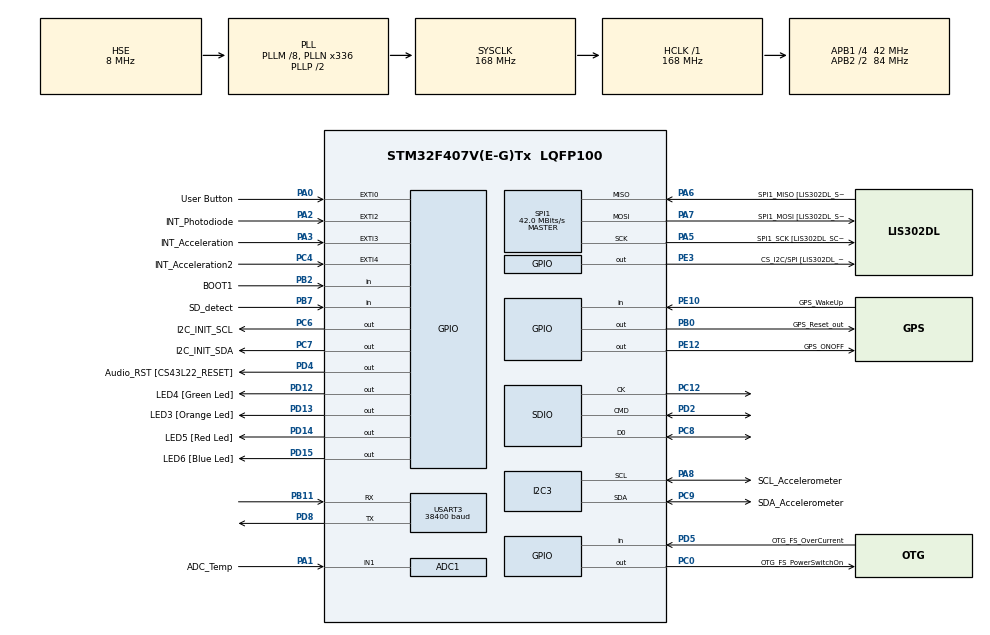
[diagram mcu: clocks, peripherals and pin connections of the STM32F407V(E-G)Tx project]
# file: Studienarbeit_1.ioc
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ADC1.Channel-81\#ChannelRegularConversion=ADC_CHANNEL_1
ADC1.ClockPrescaler=ADC_CLOCK_SYNC_PCLK_DIV4
ADC1.ContinuousConvMode=DISABLE
ADC1.DMAContinuousRequests=ENABLE
ADC1.DataAlign=ADC_DATAALIGN_RIGHT
ADC1.DiscontinuousConvMode=DISABLE
ADC1.EOCSelection=ADC_EOC_SINGLE_CONV
ADC1.EnableAnalogWatchDog=false
ADC1.ExternalTrigConv=ADC_SOFTWARE_START
ADC1.ExternalTrigConvEdge=ADC_EXTERNALTRIGCONVEDGE_NONE
ADC1.InjNumberOfConversion=0
ADC1.NbrOfConversion=1
ADC1.NbrOfConversionFlag=1
ADC1.Rank-81\#ChannelRegularConversion=1
ADC1.Resolution=ADC_RESOLUTION_12B
ADC1.SamplingTime-81\#ChannelRegularConversion=ADC_SAMPLETIME_28CYCLES
ADC1.ScanConvMode=ENABLE
ADC1.master=1
Dma.ADC1.0.Direction=DMA_PERIPH_TO_MEMORY
Dma.ADC1.0.FIFOMode=DMA_FIFOMODE_DISABLE
Dma.ADC1.0.Instance=DMA2_Stream0
Dma.ADC1.0.MemDataAlignment=DMA_MDATAALIGN_WORD
Dma.ADC1.0.MemInc=DMA_MINC_DISABLE
Dma.ADC1.0.Mode=DMA_CIRCULAR
Dma.ADC1.0.PeriphDataAlignment=DMA_PDATAALIGN_WORD
Dma.ADC1.0.PeriphInc=DMA_PINC_DISABLE
Dma.ADC1.0.Priority=DMA_PRIORITY_LOW
Dma.Request0=ADC1
Dma.Request1=USART3_RX
Dma.USART3_RX.1.Direction=DMA_PERIPH_TO_MEMORY
Dma.USART3_RX.1.FIFOMode=DMA_FIFOMODE_DISABLE
Dma.USART3_RX.1.Instance=DMA1_Stream1
Dma.USART3_RX.1.MemDataAlignment=DMA_MDATAALIGN_BYTE
Dma.USART3_RX.1.MemInc=DMA_MINC_ENABLE
Dma.USART3_RX.1.Mode=DMA_CIRCULAR
Dma.USART3_RX.1.PeriphDataAlignment=DMA_PDATAALIGN_BYTE
Dma.USART3_RX.1.PeriphInc=DMA_PINC_DISABLE
Dma.USART3_RX.1.Priority=DMA_PRIORITY_LOW
FATFS.BSP.number=1
FATFS._MAX_SS=4096
FATFS0.BSP.STBoard=false
FATFS0.BSP.api=Unknown
FATFS0.BSP.i2caddr=0
FATFS0.BSP.instance=PB7
FATFS0.BSP.ip=GPIO
FATFS0.BSP.mode=Input
FATFS0.BSP.name=Detect_SDIO
FATFS0.BSP.solution=PB7
Mcu.Family=STM32F4
Mcu.Name=STM32F407V(E-G)Tx
Mcu.Package=LQFP100
NVIC.ADC_IRQn=true\:0\:0\:false\:false\:true\:true\:true
NVIC.DMA1_Stream1_IRQn=true\:0\:0\:false\:false\:true\:false\:true
NVIC.DMA2_Stream0_IRQn=true\:0\:0\:false\:false\:true\:false\:true
NVIC.EXTI0_IRQn=true\:0\:0\:false\:false\:true\:true\:true
NVIC.EXTI2_IRQn=true\:0\:0\:false\:false\:true\:true\:true
NVIC.EXTI3_IRQn=true\:0\:0\:false\:false\:true\:true\:true
NVIC.EXTI4_IRQn=true\:0\:0\:false\:false\:true\:true\:true
NVIC.PriorityGroup=NVIC_PRIORITYGROUP_0
PA0-WKUP.GPIO_Label=User Button
PA0-WKUP.Signal=GPXTI0
PA1.GPIO_Label=ADC_Temp
PA1.Signal=ADCx_IN1
PA10.GPIO_Label=OTG_FS_ID
PA10.GPIO_Mode=GPIO_MODE_AF_PP
PA10.GPIO_PuPd=GPIO_NOPULL
PA10.GPIO_Speed=GPIO_SPEED_FREQ_LOW
PA10.Signal=USB_OTG_FS_ID
PA11.GPIO_Label=OTG_FS_DM
PA11.GPIO_Mode=GPIO_MODE_AF_PP
PA11.GPIO_PuPd=GPIO_NOPULL
PA11.GPIO_Speed=GPIO_SPEED_FREQ_LOW
PA11.Signal=USB_OTG_FS_DM
PA12.GPIO_Label=OTG_FS_DP
PA12.GPIO_Mode=GPIO_MODE_AF_PP
PA12.GPIO_PuPd=GPIO_NOPULL
PA12.GPIO_Speed=GPIO_SPEED_FREQ_LOW
PA12.Signal=USB_OTG_FS_DP
PA13.GPIO_Label=SWDIO
PA13.Mode=Serial_Wire
PA13.Signal=SYS_JTMS-SWDIO
PA14.GPIO_Label=SWCLK
PA14.Mode=Serial_Wire
PA14.Signal=SYS_JTCK-SWCLK
PA2.GPIO_Label=INT_Photodiode
PA2.Signal=GPXTI2
PA3.GPIO_Label=INT_Acceleration
PA3.Signal=GPXTI3
PA4.GPIO_Label=I2S3_WS [CS43L22_LRCK]
PA4.GPIO_Mode=GPIO_MODE_AF_PP
PA4.GPIO_PuPd=GPIO_NOPULL
PA4.GPIO_Speed=GPIO_SPEED_FREQ_LOW
PA4.Signal=I2S3_WS
PA5.GPIO_Label=SPI1_SCK [LIS302DL_SCL/SPC]
PA5.GPIO_Mode=GPIO_MODE_AF_PP
PA5.GPIO_PuPd=GPIO_NOPULL
PA5.GPIO_Speed=GPIO_SPEED_FREQ_LOW
PA5.Mode=Full_Duplex_Master
PA5.Signal=SPI1_SCK
PA6.GPIO_Label=SPI1_MISO [LIS302DL_SDO]
PA6.GPIO_Mode=GPIO_MODE_AF_PP
PA6.GPIO_PuPd=GPIO_NOPULL
PA6.GPIO_Speed=GPIO_SPEED_FREQ_LOW
PA6.Mode=Full_Duplex_Master
PA6.Signal=SPI1_MISO
PA7.GPIO_Label=SPI1_MOSI [LIS302DL_SDA/SDI/SDO]
PA7.GPIO_Mode=GPIO_MODE_AF_PP
PA7.GPIO_PuPd=GPIO_NOPULL
PA7.GPIO_Speed=GPIO_SPEED_FREQ_LOW
PA7.Mode=Full_Duplex_Master
PA7.Signal=SPI1_MOSI
PA8.GPIO_Label=SCL_Accelerometer
PA8.Mode=I2C
PA8.Signal=I2C3_SCL
PA9.GPIO_Label=VBUS_FS
PA9.GPIO_Mode=GPIO_MODE_INPUT
PA9.GPIO_PuPd=GPIO_NOPULL
PA9.Signal=USB_OTG_FS_VBUS
PB0.GPIO_Label=GPS_Reset_out
PB0.GPIO_ModeDefaultOutputPP=GPIO_MODE_OUTPUT_OD
PB0.Signal=GPIO_Output
PB10.GPIO_Label=CLK_IN [MP45DT02_CLK]
PB10.GPIO_Mode=GPIO_MODE_AF_PP
PB10.GPIO_PuPd=GPIO_NOPULL
PB10.GPIO_Speed=GPIO_SPEED_FREQ_LOW
PB10.Signal=I2S2_CK
PB11.Mode=Asynchronous
PB11.Signal=USART3_RX
PB2.GPIO_Label=BOOT1
PB2.GPIO_Mode=GPIO_MODE_INPUT
PB2.GPIO_PuPd=GPIO_NOPULL
PB2.Signal=GPIO_Input
PB3.GPIO_Label=SWO
PB3.Signal=SYS_JTDO-SWO
PB6.GPIO_Label=Audio_SCL [CS43L22_SCL]
PB6.GPIO_Mode=GPIO_MODE_AF_OD
PB6.GPIO_PuPd=GPIO_NOPULL
PB6.GPIO_Speed=GPIO_SPEED_FREQ_LOW
PB6.Signal=I2C1_SCL
PB7.GPIO_Label=SD_detect
PB7.Signal=GPIO_Input
PC0.GPIO_Label=OTG_FS_PowerSwitchOn
PC0.GPIO_PuPd=GPIO_NOPULL
PC0.GPIO_Speed=GPIO_SPEED_FREQ_LOW
PC0.PinState=GPIO_PIN_SET
PC0.Signal=GPIO_Output
PC12.Mode=SD_1_bit
PC12.Signal=SDIO_CK
PC14-OSC32_IN.GPIO_Label=PC14-OSC32_IN
PC14-OSC32_IN.Mode=LSE-External-Oscillator
PC14-OSC32_IN.Signal=RCC_OSC32_IN
PC15-OSC32_OUT.GPIO_Label=PC15-OSC32_OUT
PC15-OSC32_OUT.Mode=LSE-External-Oscillator
PC15-OSC32_OUT.Signal=RCC_OSC32_OUT
PC3.GPIO_Label=PDM_OUT [MP45DT02_DOUT]
PC3.GPIO_Mode=GPIO_MODE_AF_PP
PC3.GPIO_PuPd=GPIO_NOPULL
PC3.GPIO_Speed=GPIO_SPEED_FREQ_LOW
PC3.Signal=I2S2_SD
PC4.GPIO_Label=INT_Acceleration2
PC4.Signal=GPXTI4
PC6.GPIO_Label=I2C_INIT_SCL
PC6.PinState=GPIO_PIN_SET
PC6.Signal=GPIO_Output
PC7.GPIO_Label=I2C_INIT_SDA
PC7.PinState=GPIO_PIN_SET
PC7.Signal=GPIO_Output
PC8.GPIO_PuPd=GPIO_PULLUP
PC8.Mode=SD_1_bit
PC8.Signal=SDIO_D0
PC9.GPIO_Label=SDA_Accelerometer
PC9.Mode=I2C
PC9.Signal=I2C3_SDA
PD12.GPIO_Label=LED4 [Green Led]
PD12.GPIO_PuPd=GPIO_NOPULL
PD12.GPIO_Speed=GPIO_SPEED_FREQ_LOW
PD12.Signal=GPIO_Output
PD13.GPIO_Label=LED3 [Orange Led]
PD13.GPIO_PuPd=GPIO_NOPULL
PD13.GPIO_Speed=GPIO_SPEED_FREQ_LOW
PD13.Signal=GPIO_Output
PD14.GPIO_Label=LED5 [Red Led]
PD14.GPIO_PuPd=GPIO_NOPULL
PD14.GPIO_Speed=GPIO_SPEED_FREQ_LOW
PD14.Signal=GPIO_Output
PD15.GPIO_Label=LED6 [Blue Led]
PD15.GPIO_PuPd=GPIO_NOPULL
PD15.GPIO_Speed=GPIO_SPEED_FREQ_LOW
PD15.Signal=GPIO_Output
PD2.GPIO_PuPd=GPIO_PULLUP
PD2.Mode=SD_1_bit
PD2.Signal=SDIO_CMD
PD4.GPIO_Label=Audio_RST [CS43L22_RESET]
PD4.GPIO_PuPd=GPIO_NOPULL
PD4.GPIO_Speed=GPIO_SPEED_FREQ_LOW
PD4.Signal=GPIO_Output
PD5.GPIO_Label=OTG_FS_OverCurrent
PD5.GPIO_Mode=GPIO_MODE_INPUT
PD5.GPIO_PuPd=GPIO_NOPULL
PD5.Signal=GPIO_Input
PD8.Mode=Asynchronous
PD8.Signal=USART3_TX
PE10.GPIO_Label=GPS_WakeUp
PE10.Signal=GPIO_Input
PE12.GPIO_Label=GPS_ONOFF
PE12.Signal=GPIO_Output
PE3.GPIO_Label=CS_I2C/SPI [LIS302DL_CS_I2C/SPI]
PE3.GPIO_PuPd=GPIO_NOPULL
PE3.GPIO_Speed=GPIO_SPEED_FREQ_LOW
PE3.Signal=GPIO_Output
PH0-OSC_IN.GPIO_Label=PH0-OSC_IN
PH0-OSC_IN.Mode=HSE-External-Oscillator
PH0-OSC_IN.Signal=RCC_OSC_IN
PH1-OSC_OUT.GPIO_Label=PH1-OSC_OUT
PH1-OSC_OUT.Mode=HSE-External-Oscillator
PH1-OSC_OUT.Signal=RCC_OSC_OUT
ProjectManager.HeapSize=0x2000
ProjectManager.StackSize=0x4000
ProjectManager.TargetToolchain=MDK-ARM V5
RCC.48MHZClocksFreq_Value=48000000
RCC.AHBFreq_Value=168000000
RCC.APB1CLKDivider=RCC_HCLK_DIV4
RCC.APB1Freq_Value=42000000
RCC.APB1TimFreq_Value=84000000
RCC.APB2CLKDivider=RCC_HCLK_DIV2
RCC.APB2Freq_Value=84000000
RCC.APB2TimFreq_Value=168000000
RCC.CortexFreq_Value=168000000
RCC.HCLKFreq_Value=168000000
RCC.HSE_VALUE=8000000
RCC.HSI_VALUE=16000000
RCC.PLLM=8
RCC.PLLN=336
RCC.PLLQ=7
RCC.PLLSourceVirtual=RCC_PLLSOURCE_HSE
RCC.SYSCLKFreq_VALUE=168000000
RCC.SYSCLKSource=RCC_SYSCLKSOURCE_PLLCLK
RCC.VCOOutputFreq_Value=336000000
SDIO.ClockDiv=5
SDIO.HardwareFlowControl=SDIO_HARDWARE_FLOW_CONTROL_DISABLE
SH.ADCx_IN1.0=ADC1_IN1,IN1
SPI1.CalculateBaudRate=42.0 MBits/s
SPI1.Direction=SPI_DIRECTION_2LINES
SPI1.Mode=SPI_MODE_MASTER
SPI1.VirtualType=VM_MASTER
USART3.BaudRate=38400
USART3.VirtualMode=VM_ASYNC
VP_FATFS_VS_SDIO.Mode=SDIO
board=STM32F4DISCOVERY

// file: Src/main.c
/* USER CODE BEGIN Header */
/**
  ******************************************************************************
  * @file           : main.c
  * @brief          : Main program body
  ******************************************************************************
  * @attention
  *
  * <h2><center>&copy; Copyright (c) 2019 STMicroelectronics.
  * All rights reserved.</center></h2>
  *
  * This software component is licensed by ST under Ultimate Liberty license
  * SLA0044, the "License"; You may not use this file except in compliance with
  * the License. You may obtain a copy of the License at:
  *                             www.st.com/SLA0044
  *
  ******************************************************************************
  */
/* USER CODE END Header */

#include "main.h"
#include "fatfs.h"

/* USER CODE BEGIN Includes */
#include "card_operations.h"
#include "acceleration_Sensor.h"
#include "gps_modul.h"
#include "ini.h"
/* USER CODE END Includes */

ADC_HandleTypeDef hadc1;
DMA_HandleTypeDef hdma_adc1;

I2C_HandleTypeDef hi2c3;

SD_HandleTypeDef hsd;

SPI_HandleTypeDef hspi1;

UART_HandleTypeDef huart3;
DMA_HandleTypeDef hdma_usart3_rx;

/* USER CODE BEGIN PV */
/* Private variables ---------------------------------------------------------*/
uint8_t GET_DATA;														 		/* Initialisierungswert fuer das Sammeln eines kompletten Datensatzes */

configuration config;
GPIO_InitTypeDef GPIO_InitStruct = {0};

static int Preferences_Handler(void* user, const char* section, const char* name, const char* value);		/* Handler für Config-Parser */

const uint16_t 	datasetCount = 100;							/* Anzahl der Datensäetze, die gesammelt auf die Karte geschrieben werden */
uint16_t				actualSet = 0;									/* Momentan aktiver Datensatz */
ADC_AnalogWDGConfTypeDef AnalogWDGConf;

struct tm				clock_time;

FATFS 					myFatFS;
FIL 						logFile;												/* Dateihandle auf SD-Karte (Log-Datei) */
FIL 						configFile;											/* Dateihandle auf SD-Karte (Initialisierungsdatei)*/
UINT 						cursor;													/* Letztes Zeichen in CSV-Datei (Log-Datei) */
UINT 						configCursor;										/* Letztes Zeichen in CSV-Datei Initialisierungsdatei) */
char 						logFileName[] = "0:/LogFile.csv";
char 						configFileName[] = "0:/config.ini";
char * 					configBuffer;
char 						header[200];
uint32_t 				Temp_Raw;												/* Temperatur in 12 Bit aus ADC */
uint16_t 				Temp;														/* Temperatur in Grad Celsius */
dataset 				sensor_set[datasetCount];				/* Datensatz, der im RAM gepuffert wird */

/* Flags und Wartezeiten für den Sleep Mode */
uint16_t				sleepTimer;
uint16_t				activeTime = 300;								/* Zeit in Sekunden nach einem Ereigniss für den Sleep Mode (max 65.536 s) */
workmode_type 	operation_mode = workmode_log;	/* Betriebsmodus (Energiespar-Funktion) */
event_type 			event;													/* Event fuer die Detektierung einer Grenzwertueberschreitung */

s_accelerometerValues 			acceleration_actual_global;
s_accelerometerValuesFloat 	acceleration_actual_float;
float 											max_acceleration = 2.0;					/* Messbereich (+/-) in g */

uint8_t					g_newGPSData = 0;								/* Flag wenn neue Daten im Buffer anstehen wird von DMA IR-Handler gesetzt */
s_gpsSetOfData  gpsActualDataset;								/* Set mit aktuellsten GPS Daten */

/* Trigger-Flags fuer das Einlesen von Daten */
uint8_t 				getDataset;
uint8_t 				getTemp;
uint8_t					getLight;
uint8_t					getAcceleration;
uint8_t					getPosition;
uint8_t					writeDataset;

/* USER CODE END PV */

void SystemClock_Config(void);
static void MX_GPIO_Init(void);
static void MX_DMA_Init(void);
static void MX_ADC1_Init(void);
static void MX_I2C3_Init(void);
static void MX_SDIO_SD_Init(void);
static void MX_SPI1_Init(void);
static void MX_USART3_UART_Init(void);
/* USER CODE BEGIN PFP */
/* Private function prototypes -----------------------------------------------*/
void Timer4_Init(void);
void AnalogWDG_Init(void);
void error_blink(uint16_t GPIO_Pin, uint16_t n, uint16_t dt);
void writeToFile(void);
int ini_parse_fatfs(FIL* file, const char* filename, ini_handler handler, void* user);

/* USER CODE END PFP */

int main(void)
{
  /* USER CODE BEGIN 1 */

	/* Standartwerte */
	config.MAX_TEMP 						= 333;
	config.MIN_TEMP 						= 263;
	config.MAX_ACC 							= 2;
	config.ACCELERATION_ENABLE 	= 1;
	config.GNSS_ENABLE					= 1;
	config.LIGHT_ENABLE					= 1;
	config.TEMP_ENABLE					= 1;
	config.ACC_MAX_ANZAHL_WERTE	= 20;

	char gpsRxRingBuffer[GPS_RINGBUFFER_SIZE] = {0};

	s_accelerometerValues acceleration_actual;
	//s_accelerometerValues acceleration_ringbuffer[ACC_MAX_ANZAHL_WERTE];
	HAL_StatusTypeDef i2c_status = HAL_BUSY;
  /* USER CODE END 1 */

  /* MCU Configuration--------------------------------------------------------*/

  /* Reset of all peripherals, Initializes the Flash interface and the Systick. */
  HAL_Init();

  /* Configure the system clock */
  SystemClock_Config();

  /* Initialize all configured peripherals */
  MX_GPIO_Init();
  MX_DMA_Init();
  MX_ADC1_Init();
  MX_I2C3_Init();
  MX_FATFS_Init();
  MX_SDIO_SD_Init();
  MX_SPI1_Init();
  MX_USART3_UART_Init();
  /* USER CODE BEGIN 2 */

	/* I2C-Bus auf 3 Volt ziehen (Bug-Workaround) ------------------------------*/
	HAL_GPIO_WritePin(I2C_INIT_SCL_GPIO_Port, I2C_INIT_SCL_Pin|I2C_INIT_SDA_Pin, GPIO_PIN_SET);		/* Pull der Busleitungen auf VDD */
	HAL_Delay(200);
	GPIO_InitStruct.Pin = I2C_INIT_SCL_Pin|I2C_INIT_SDA_Pin;
  GPIO_InitStruct.Mode = GPIO_MODE_INPUT;
  GPIO_InitStruct.Pull = GPIO_NOPULL;						/* HiZ */
  HAL_GPIO_Init(I2C_INIT_SCL_GPIO_Port, &GPIO_InitStruct);		/* Umkonfiguration der Ausgäge zu Aingängen */

	/* Vorbereiten der SD-Karte ------------------------------------------------*/
	if(f_mount(&myFatFS, SDPath, 1) == FR_OK){
		if(ini_parse_fatfs(&configFile, configFileName, Preferences_Handler, &config) != FR_OK) {		/* Auslesen der Initialisierungsdatei */
			error_blink(LED3_Pin, 5, 500);					/* wenn Lesefehler an config.ini dann blinkt orangene LED3 5 mal lang */
		}
		sprintf(header, "Tracking-Log;t_min:;%i;t_max:;%i;Acc_max:;%1.3f;\n Date/Time;Location (GPRMC);Location (GPGGA);Acceleration X; Acceleration Y; Acceleration Z;Temp;Open;Note\n", config.MIN_TEMP, config.MAX_TEMP, config.MAX_ACC);
		write_string_to_file(&logFile, logFileName, header,	sizeof(header), &cursor);
	}
	else{
		HAL_GPIO_WritePin(LED3_GPIO_Port, LED3_Pin, GPIO_PIN_SET);		/* Orangene LED3 leuchtet dauerhaft, wenn SD-Karte  nicht initialisiert werden konnte */
	}

	Timer4_Init();

	/* Acc-Sensor ueber I2C deaktivieren und dann wieder aktivieren, damit dieser sicher aktiviert wird */
	if(config.ACCELERATION_ENABLE){
		HAL_Delay(500);
		ACC_deactivate(&hi2c3);
		HAL_Delay(500);
		ACC_activate(&hi2c3);
	}

	/* GPS-Empfänger aktivieren ------------------------------------------------*/
	if(config.GNSS_ENABLE) {
		config.GNSS_ENABLE = 0; 										/* erst mal deaktiveren, wenn GPS aktivierung erfolgreich wird es wieder ENABLED */
		HAL_GPIO_WritePin(GPS_Reset_out_GPIO_Port, GPS_Reset_out_Pin, GPIO_PIN_SET);
		for(int i = 0; i < 4; i++){									/* wenn nach 4 Versuchen, das Modul nicht aktivert werden kann, bleibt GNSS_ENABLE=0 und das Programm lauft "normal" weiter */
			if(-1 != GPS_activateReceiver()){ 				/* GPS erfolgreich aktiviert, for-Schleife verlassen */
				config.GNSS_ENABLE=1;
				i = 5;

				/* Starte GPS UART DMA */
				HAL_UART_Receive_DMA(&huart3, (uint8_t*)&gpsRxRingBuffer, GPS_RINGBUFFER_SIZE);
				__HAL_UART_ENABLE_IT(&huart3, UART_IT_TC );
				__HAL_UART_ENABLE_IT(&huart3, UART_IT_IDLE );
			}
			else if(i == 4){
				error_blink(LED6_Pin, 5, 500);					/* wenn GPS nicht aktiviert werden kann blinkt LED6 (Blau) 5 mal lang */
			}
			HAL_Delay(100);
		}
	}

	/* Starte ADC --------------------------------------------------------------*/
	if(config.TEMP_ENABLE){
		AnalogWDG_Init();														/* Analog Watchdog konfigurieren */
		HAL_ADC_Start_DMA(&hadc1, &Temp_Raw, 1);		/* ADC->Mem DMA starten */
		HAL_ADC_Start_IT(&hadc1);										/* ADC-WDG Interrupt aktivieren */
	}

	GET_DATA = config.ACCELERATION_ENABLE + config.GNSS_ENABLE + config.LIGHT_ENABLE + config.TEMP_ENABLE;		/* initialisiere Counter zum sammeln eines Datensatzes */

  /* USER CODE END 2 */

  /* Infinite loop */
  while (1)
  {

    /* USER CODE BEGIN 3 */

		if(getLight | getTemp | getAcceleration | getPosition | getDataset){

			/* Einlesen der Fotodiode und Ablage in den Datensatz ------------------*/
			if(config.LIGHT_ENABLE){
				if(getLight | getDataset){
					getLight = 0;
					getDataset--;

					if(HAL_GPIO_ReadPin(INT_Photodiode_GPIO_Port, INT_Photodiode_Pin) == 1){
						sensor_set[actualSet].open = 1;
					}
					else{
						sensor_set[actualSet].open = 0;
					}
				}
			}

			/* Einlesen der Temperatur und Ablage in den Datensatz -----------------*/
			if(config.TEMP_ENABLE){
				HAL_ADC_Start_IT(&hadc1);

				if(getTemp | getDataset){
					getTemp = 0;
					getDataset--;

					sensor_set[actualSet].temperature = 300 * 2 * Temp_Raw / 4096 - 273;    /* Umrechnung der 12-Bit Rohdaten in Grad Celsius */
					Temp = sensor_set[actualSet].temperature;
				}
			}

			/* Einlesen der Beschleunigungsdaten und Ablage in den Datensatz -------*/
			if(config.ACCELERATION_ENABLE){

				if(getAcceleration | getDataset){
					getAcceleration = 0;
					getDataset--;

					i2c_status = ACC_getAllValues(&hi2c3, &acceleration_actual);
					if(i2c_status == HAL_OK){
						acceleration_actual_float.x_Value = ACC_convertAccelToFloat(acceleration_actual.x_Value, 12, max_acceleration);		/* Umrechnung in Float über Registerbreite und Messbereich in g */
						acceleration_actual_float.y_Value = ACC_convertAccelToFloat(acceleration_actual.y_Value, 12, max_acceleration);		/* Umrechnung in Float über Registerbreite und Messbereich in g */
						acceleration_actual_float.z_Value = ACC_convertAccelToFloat(acceleration_actual.z_Value, 12, max_acceleration);		/* Umrechnung in Float über Registerbreite und Messbereich in g */
						sensor_set[actualSet].acceleration = acceleration_actual_float;
					}
					else{
						error_blink(LED5_Pin, 3, 100);			/* wenn Lesefehler dann blinkt LED5 3 mal kurz */
					}
				}
			}

			/* Einlesen der Positionsdaten und Ablage in den Datensatz -------------*/
			if(config.GNSS_ENABLE){
				if(getPosition | getDataset){
					getPosition = 0;
					getDataset--;
					g_newGPSData = 1; // always read in. TODO: this is a workaround as long the DMA-IRQ does not do what it should
					if(g_newGPSData){					/* check for new UART GPS Data, and read in before using GPS dataset */
						HAL_UART_DMAPause(&huart3); //pause DMA um Datenkonstistenz zu gewährleisten
						int returnValue = GPS_sortInNewData(&gpsActualDataset, gpsRxRingBuffer);		/* read in new data */
						HAL_UART_DMAResume(&huart3);
						// read in new time from GPS only when GPS Timestamp is newer than old timestamp from GPS. Else we jump back in time (bc. Time get incremented intern)
						// TODO: add gps parse time in this struct -> then incomment the next line
						//if(returnValue==0) clock_time = gpsActualDataset.gps_timestamp; // check if this is ok, or only copy a pointer
						g_newGPSData = 0; 									/* reset flag	*/
					}
					/* aus aktuellem GPS Set Position immer kopieren, weil da ist es besser die letzte zu haben als keine*/
					strcpy(sensor_set[actualSet].NMEA_GPGGA, gpsActualDataset.NMEA_GPGGA);
			  	strcpy(sensor_set[actualSet].NMEA_GPRMC, gpsActualDataset.NMEA_GPRMC);
					sensor_set[actualSet].timestamp = clock_time;		/* von Timer incrementiert, wird aber auch noch von GPS ab und so korrigiert werden */
				}
			}

			actualSet++;
		}

		/* Fuellen des Datensatzes und Abspeichern auf die SD-Karte --------------*/
		if((actualSet == datasetCount) | writeDataset) {
			writeToFile();
		}

		/* SD-Karte auswerfen ----------------------------------------------------*/
		if(event == eject_card){
			writeToFile();														/* letzten Datensatz auf Karte speichern */
			HAL_NVIC_DisableIRQ(TIM4_IRQn);						/* Deaktiviere zyklischen Timer Interrupt um Logging zu unterbrechen */
			HAL_GPIO_WritePin(LED4_GPIO_Port, LED4_Pin, GPIO_PIN_SET);		/* Grüne LED leuchtet auf, sobald der SD-Karte entnommen werden kann */
			event = deactivate_gnss;               		/* Deaktiviere GNSS-Modul vor dem Abschalten */
		}

		/* Deaktivieren des GNSS-Moduls -------------------------------------------*/
		if(event == deactivate_gnss) {
			if(GPS_deactivateReceiver() != -1) {
				HAL_GPIO_WritePin(LED6_GPIO_Port, LED6_Pin, GPIO_PIN_SET);			/* Blaue LED leuchtet auf, sobald der GPS-Sensor sicher abgeschaltet ist */
				event = no_event;
			}
		}

		/* Sleep Mode nach x Minuten ohne Ereigniss/Interrupt --------------------*/
		if(operation_mode == workmode_sleep) {
			GPS_deactivateReceiver();
			writeToFile();
			HAL_NVIC_DisableIRQ(TIM4_IRQn);
			HAL_SuspendTick();
			HAL_PWR_EnterSLEEPMode(PWR_LOWPOWERREGULATOR_ON, PWR_SLEEPENTRY_WFI);
			HAL_ResumeTick();
			HAL_NVIC_EnableIRQ(TIM4_IRQn);
			GPS_activateReceiver();
		}
  }
  /* USER CODE END 3 */
}

void SystemClock_Config(void)
{
  RCC_OscInitTypeDef RCC_OscInitStruct = {0};
  RCC_ClkInitTypeDef RCC_ClkInitStruct = {0};

  /** Configure the main internal regulator output voltage
  */
  __HAL_RCC_PWR_CLK_ENABLE();
  __HAL_PWR_VOLTAGESCALING_CONFIG(PWR_REGULATOR_VOLTAGE_SCALE1);
  /** Initializes the CPU, AHB and APB busses clocks
  */
  RCC_OscInitStruct.OscillatorType = RCC_OSCILLATORTYPE_HSE;
  RCC_OscInitStruct.HSEState = RCC_HSE_ON;
  RCC_OscInitStruct.PLL.PLLState = RCC_PLL_ON;
  RCC_OscInitStruct.PLL.PLLSource = RCC_PLLSOURCE_HSE;
  RCC_OscInitStruct.PLL.PLLM = 8;
  RCC_OscInitStruct.PLL.PLLN = 336;
  RCC_OscInitStruct.PLL.PLLP = RCC_PLLP_DIV2;
  RCC_OscInitStruct.PLL.PLLQ = 7;
  if (HAL_RCC_OscConfig(&RCC_OscInitStruct) != HAL_OK)
  {
    Error_Handler();
  }
  /** Initializes the CPU, AHB and APB busses clocks
  */
  RCC_ClkInitStruct.ClockType = RCC_CLOCKTYPE_HCLK|RCC_CLOCKTYPE_SYSCLK
                              |RCC_CLOCKTYPE_PCLK1|RCC_CLOCKTYPE_PCLK2;
  RCC_ClkInitStruct.SYSCLKSource = RCC_SYSCLKSOURCE_PLLCLK;
  RCC_ClkInitStruct.AHBCLKDivider = RCC_SYSCLK_DIV1;
  RCC_ClkInitStruct.APB1CLKDivider = RCC_HCLK_DIV4;
  RCC_ClkInitStruct.APB2CLKDivider = RCC_HCLK_DIV2;

  if (HAL_RCC_ClockConfig(&RCC_ClkInitStruct, FLASH_LATENCY_5) != HAL_OK)
  {
    Error_Handler();
  }
}

static void MX_ADC1_Init(void)
{

  ADC_ChannelConfTypeDef sConfig = {0};

  /** Configure the global features of the ADC (Clock, Resolution, Data Alignment and number of conversion)
  */
  hadc1.Instance = ADC1;
  hadc1.Init.ClockPrescaler = ADC_CLOCK_SYNC_PCLK_DIV4;
  hadc1.Init.Resolution = ADC_RESOLUTION_12B;
  hadc1.Init.ScanConvMode = ENABLE;
  hadc1.Init.ContinuousConvMode = DISABLE;
  hadc1.Init.DiscontinuousConvMode = DISABLE;
  hadc1.Init.ExternalTrigConvEdge = ADC_EXTERNALTRIGCONVEDGE_NONE;
  hadc1.Init.ExternalTrigConv = ADC_SOFTWARE_START;
  hadc1.Init.DataAlign = ADC_DATAALIGN_RIGHT;
  hadc1.Init.NbrOfConversion = 1;
  hadc1.Init.DMAContinuousRequests = ENABLE;
  hadc1.Init.EOCSelection = ADC_EOC_SINGLE_CONV;
  if (HAL_ADC_Init(&hadc1) != HAL_OK)
  {
    Error_Handler();
  }
  /** Configure for the selected ADC regular channel its corresponding rank in the sequencer and its sample time.
  */
  sConfig.Channel = ADC_CHANNEL_1;
  sConfig.Rank = 1;
  sConfig.SamplingTime = ADC_SAMPLETIME_28CYCLES;
  if (HAL_ADC_ConfigChannel(&hadc1, &sConfig) != HAL_OK)
  {
    Error_Handler();
  }

}

static void MX_I2C3_Init(void)
{

  hi2c3.Instance = I2C3;
  hi2c3.Init.ClockSpeed = 100000;
  hi2c3.Init.DutyCycle = I2C_DUTYCYCLE_2;
  hi2c3.Init.OwnAddress1 = 0;
  hi2c3.Init.AddressingMode = I2C_ADDRESSINGMODE_7BIT;
  hi2c3.Init.DualAddressMode = I2C_DUALADDRESS_DISABLE;
  hi2c3.Init.OwnAddress2 = 0;
  hi2c3.Init.GeneralCallMode = I2C_GENERALCALL_DISABLE;
  hi2c3.Init.NoStretchMode = I2C_NOSTRETCH_DISABLE;
  if (HAL_I2C_Init(&hi2c3) != HAL_OK)
  {
    Error_Handler();
  }

}

static void MX_SDIO_SD_Init(void)
{

  hsd.Instance = SDIO;
  hsd.Init.ClockEdge = SDIO_CLOCK_EDGE_RISING;
  hsd.Init.ClockBypass = SDIO_CLOCK_BYPASS_DISABLE;
  hsd.Init.ClockPowerSave = SDIO_CLOCK_POWER_SAVE_DISABLE;
  hsd.Init.BusWide = SDIO_BUS_WIDE_1B;
  hsd.Init.HardwareFlowControl = SDIO_HARDWARE_FLOW_CONTROL_DISABLE;
  hsd.Init.ClockDiv = 5;

}

static void MX_SPI1_Init(void)
{

  /* SPI1 parameter configuration*/
  hspi1.Instance = SPI1;
  hspi1.Init.Mode = SPI_MODE_MASTER;
  hspi1.Init.Direction = SPI_DIRECTION_2LINES;
  hspi1.Init.DataSize = SPI_DATASIZE_8BIT;
  hspi1.Init.CLKPolarity = SPI_POLARITY_LOW;
  hspi1.Init.CLKPhase = SPI_PHASE_1EDGE;
  hspi1.Init.NSS = SPI_NSS_SOFT;
  hspi1.Init.BaudRatePrescaler = SPI_BAUDRATEPRESCALER_2;
  hspi1.Init.FirstBit = SPI_FIRSTBIT_MSB;
  hspi1.Init.TIMode = SPI_TIMODE_DISABLE;
  hspi1.Init.CRCCalculation = SPI_CRCCALCULATION_DISABLE;
  hspi1.Init.CRCPolynomial = 10;
  if (HAL_SPI_Init(&hspi1) != HAL_OK)
  {
    Error_Handler();
  }

}

static void MX_USART3_UART_Init(void)
{

  huart3.Instance = USART3;
  huart3.Init.BaudRate = 38400;
  huart3.Init.WordLength = UART_WORDLENGTH_8B;
  huart3.Init.StopBits = UART_STOPBITS_1;
  huart3.Init.Parity = UART_PARITY_NONE;
  huart3.Init.Mode = UART_MODE_TX_RX;
  huart3.Init.HwFlowCtl = UART_HWCONTROL_NONE;
  huart3.Init.OverSampling = UART_OVERSAMPLING_16;
  if (HAL_UART_Init(&huart3) != HAL_OK)
  {
    Error_Handler();
  }

}

static void MX_DMA_Init(void)
{
  /* DMA controller clock enable */
  __HAL_RCC_DMA2_CLK_ENABLE();
  __HAL_RCC_DMA1_CLK_ENABLE();

  /* DMA interrupt init */
  /* DMA1_Stream1_IRQn interrupt configuration */
  HAL_NVIC_SetPriority(DMA1_Stream1_IRQn, 0, 0);
  HAL_NVIC_EnableIRQ(DMA1_Stream1_IRQn);
  /* DMA2_Stream0_IRQn interrupt configuration */
  HAL_NVIC_SetPriority(DMA2_Stream0_IRQn, 0, 0);
  HAL_NVIC_EnableIRQ(DMA2_Stream0_IRQn);

}

static void MX_GPIO_Init(void)
{
  GPIO_InitTypeDef GPIO_InitStruct = {0};

  /* GPIO Ports Clock Enable */
  __HAL_RCC_GPIOE_CLK_ENABLE();
  __HAL_RCC_GPIOC_CLK_ENABLE();
  __HAL_RCC_GPIOH_CLK_ENABLE();
  __HAL_RCC_GPIOA_CLK_ENABLE();
  __HAL_RCC_GPIOB_CLK_ENABLE();
  __HAL_RCC_GPIOD_CLK_ENABLE();

  /*Configure GPIO pin Output Level */
  HAL_GPIO_WritePin(GPIOE, CS_I2C_SPI_Pin|GPS_ONOFF_Pin, GPIO_PIN_RESET);

  /*Configure GPIO pin Output Level */
  HAL_GPIO_WritePin(GPIOC, OTG_FS_PowerSwitchOn_Pin|I2C_INIT_SCL_Pin|I2C_INIT_SDA_Pin, GPIO_PIN_SET);

  /*Configure GPIO pin Output Level */
  HAL_GPIO_WritePin(GPS_Reset_out_GPIO_Port, GPS_Reset_out_Pin, GPIO_PIN_RESET);

  /*Configure GPIO pin Output Level */
  HAL_GPIO_WritePin(GPIOD, LED4_Pin|LED3_Pin|LED5_Pin|LED6_Pin
                          |Audio_RST_Pin, GPIO_PIN_RESET);

  /*Configure GPIO pins : CS_I2C_SPI_Pin GPS_ONOFF_Pin */
  GPIO_InitStruct.Pin = CS_I2C_SPI_Pin|GPS_ONOFF_Pin;
  GPIO_InitStruct.Mode = GPIO_MODE_OUTPUT_PP;
  GPIO_InitStruct.Pull = GPIO_NOPULL;
  GPIO_InitStruct.Speed = GPIO_SPEED_FREQ_LOW;
  HAL_GPIO_Init(GPIOE, &GPIO_InitStruct);

  /*Configure GPIO pins : OTG_FS_PowerSwitchOn_Pin I2C_INIT_SCL_Pin I2C_INIT_SDA_Pin */
  GPIO_InitStruct.Pin = OTG_FS_PowerSwitchOn_Pin|I2C_INIT_SCL_Pin|I2C_INIT_SDA_Pin;
  GPIO_InitStruct.Mode = GPIO_MODE_OUTPUT_PP;
  GPIO_InitStruct.Pull = GPIO_NOPULL;
  GPIO_InitStruct.Speed = GPIO_SPEED_FREQ_LOW;
  HAL_GPIO_Init(GPIOC, &GPIO_InitStruct);

  /*Configure GPIO pin : PDM_OUT_Pin */
  GPIO_InitStruct.Pin = PDM_OUT_Pin;
  GPIO_InitStruct.Mode = GPIO_MODE_AF_PP;
  GPIO_InitStruct.Pull = GPIO_NOPULL;
  GPIO_InitStruct.Speed = GPIO_SPEED_FREQ_LOW;
  GPIO_InitStruct.Alternate = GPIO_AF5_SPI2;
  HAL_GPIO_Init(PDM_OUT_GPIO_Port, &GPIO_InitStruct);

  /*Configure GPIO pins : User_Button_Pin INT_Photodiode_Pin INT_Acceleration_Pin */
  GPIO_InitStruct.Pin = User_Button_Pin|INT_Photodiode_Pin|INT_Acceleration_Pin;
  GPIO_InitStruct.Mode = GPIO_MODE_IT_RISING;
  GPIO_InitStruct.Pull = GPIO_NOPULL;
  HAL_GPIO_Init(GPIOA, &GPIO_InitStruct);

  /*Configure GPIO pin : I2S3_WS_Pin */
  GPIO_InitStruct.Pin = I2S3_WS_Pin;
  GPIO_InitStruct.Mode = GPIO_MODE_AF_PP;
  GPIO_InitStruct.Pull = GPIO_NOPULL;
  GPIO_InitStruct.Speed = GPIO_SPEED_FREQ_LOW;
  GPIO_InitStruct.Alternate = GPIO_AF6_SPI3;
  HAL_GPIO_Init(I2S3_WS_GPIO_Port, &GPIO_InitStruct);

  /*Configure GPIO pin : INT_Acceleration2_Pin */
  GPIO_InitStruct.Pin = INT_Acceleration2_Pin;
  GPIO_InitStruct.Mode = GPIO_MODE_IT_RISING;
  GPIO_InitStruct.Pull = GPIO_NOPULL;
  HAL_GPIO_Init(INT_Acceleration2_GPIO_Port, &GPIO_InitStruct);

  /*Configure GPIO pin : GPS_Reset_out_Pin */
  GPIO_InitStruct.Pin = GPS_Reset_out_Pin;
  GPIO_InitStruct.Mode = GPIO_MODE_OUTPUT_OD;
  GPIO_InitStruct.Pull = GPIO_NOPULL;
  GPIO_InitStruct.Speed = GPIO_SPEED_FREQ_LOW;
  HAL_GPIO_Init(GPS_Reset_out_GPIO_Port, &GPIO_InitStruct);

  /*Configure GPIO pins : BOOT1_Pin SD_detect_Pin */
  GPIO_InitStruct.Pin = BOOT1_Pin|SD_detect_Pin;
  GPIO_InitStruct.Mode = GPIO_MODE_INPUT;
  GPIO_InitStruct.Pull = GPIO_NOPULL;
  HAL_GPIO_Init(GPIOB, &GPIO_InitStruct);

  /*Configure GPIO pin : GPS_WakeUp_Pin */
  GPIO_InitStruct.Pin = GPS_WakeUp_Pin;
  GPIO_InitStruct.Mode = GPIO_MODE_INPUT;
  GPIO_InitStruct.Pull = GPIO_NOPULL;
  HAL_GPIO_Init(GPS_WakeUp_GPIO_Port, &GPIO_InitStruct);

  /*Configure GPIO pin : CLK_IN_Pin */
  GPIO_InitStruct.Pin = CLK_IN_Pin;
  GPIO_InitStruct.Mode = GPIO_MODE_AF_PP;
  GPIO_InitStruct.Pull = GPIO_NOPULL;
  GPIO_InitStruct.Speed = GPIO_SPEED_FREQ_LOW;
  GPIO_InitStruct.Alternate = GPIO_AF5_SPI2;
  HAL_GPIO_Init(CLK_IN_GPIO_Port, &GPIO_InitStruct);

  /*Configure GPIO pins : LED4_Pin LED3_Pin LED5_Pin LED6_Pin
                           Audio_RST_Pin */
  GPIO_InitStruct.Pin = LED4_Pin|LED3_Pin|LED5_Pin|LED6_Pin
                          |Audio_RST_Pin;
  GPIO_InitStruct.Mode = GPIO_MODE_OUTPUT_PP;
  GPIO_InitStruct.Pull = GPIO_NOPULL;
  GPIO_InitStruct.Speed = GPIO_SPEED_FREQ_LOW;
  HAL_GPIO_Init(GPIOD, &GPIO_InitStruct);

  /*Configure GPIO pin : VBUS_FS_Pin */
  GPIO_InitStruct.Pin = VBUS_FS_Pin;
  GPIO_InitStruct.Mode = GPIO_MODE_INPUT;
  GPIO_InitStruct.Pull = GPIO_NOPULL;
  HAL_GPIO_Init(VBUS_FS_GPIO_Port, &GPIO_InitStruct);

  /*Configure GPIO pins : OTG_FS_ID_Pin OTG_FS_DM_Pin OTG_FS_DP_Pin */
  GPIO_InitStruct.Pin = OTG_FS_ID_Pin|OTG_FS_DM_Pin|OTG_FS_DP_Pin;
  GPIO_InitStruct.Mode = GPIO_MODE_AF_PP;
  GPIO_InitStruct.Pull = GPIO_NOPULL;
  GPIO_InitStruct.Speed = GPIO_SPEED_FREQ_LOW;
  GPIO_InitStruct.Alternate = GPIO_AF10_OTG_FS;
  HAL_GPIO_Init(GPIOA, &GPIO_InitStruct);

  /*Configure GPIO pin : OTG_FS_OverCurrent_Pin */
  GPIO_InitStruct.Pin = OTG_FS_OverCurrent_Pin;
  GPIO_InitStruct.Mode = GPIO_MODE_INPUT;
  GPIO_InitStruct.Pull = GPIO_NOPULL;
  HAL_GPIO_Init(OTG_FS_OverCurrent_GPIO_Port, &GPIO_InitStruct);

  /*Configure GPIO pin : Audio_SCL_Pin */
  GPIO_InitStruct.Pin = Audio_SCL_Pin;
  GPIO_InitStruct.Mode = GPIO_MODE_AF_OD;
  GPIO_InitStruct.Pull = GPIO_PULLUP;
  GPIO_InitStruct.Speed = GPIO_SPEED_FREQ_LOW;
  GPIO_InitStruct.Alternate = GPIO_AF4_I2C1;
  HAL_GPIO_Init(Audio_SCL_GPIO_Port, &GPIO_InitStruct);

  /* EXTI interrupt init*/
  HAL_NVIC_SetPriority(EXTI0_IRQn, 0, 0);
  HAL_NVIC_EnableIRQ(EXTI0_IRQn);

  HAL_NVIC_SetPriority(EXTI2_IRQn, 0, 0);
  HAL_NVIC_EnableIRQ(EXTI2_IRQn);

  HAL_NVIC_SetPriority(EXTI3_IRQn, 0, 0);
  HAL_NVIC_EnableIRQ(EXTI3_IRQn);

  HAL_NVIC_SetPriority(EXTI4_IRQn, 0, 0);
  HAL_NVIC_EnableIRQ(EXTI4_IRQn);

}

/* USER CODE BEGIN 4 */
void Timer4_Init(void){
	RCC->APB1ENR |= (1<<2); 											/* APB: Advanced Perifery Bridge */
	TIM4->PSC = 4200-1;														/* Prescaler fuer Timer 4 */
	TIM4->ARR = 20000-1;													/* Autoreload Limit */

	TIM4->DIER |= 0x1;														/* Enable Timer 4 for set an Interrupt */
	NVIC_EnableIRQ(TIM4_IRQn);										/* Enable Interrupt fuer Timer 4 */
	TIM4->CR1 |= 0x1;															/* Konfig-Register fuer Timer 4 / Channel 1 */
}

void AnalogWDG_Init(void){
	config.MAX_TEMP_RAW = config.MAX_TEMP * 4096 / 600;		/* Umrechnen der Werte von K in AD-Werte */
	config.MIN_TEMP_RAW = config.MIN_TEMP * 4096 / 600;		/* Umrechnen der Werte von K in AD-Werte */

	AnalogWDGConf.WatchdogMode = ADC_ANALOGWATCHDOG_ALL_REG;
	AnalogWDGConf.Channel = ADC_ALL_CHANNELS;
	AnalogWDGConf.HighThreshold = config.MAX_TEMP_RAW;
	AnalogWDGConf.LowThreshold = config.MIN_TEMP_RAW;
	AnalogWDGConf.ITMode = ENABLE;

	HAL_ADC_AnalogWDGConfig(&hadc1, &AnalogWDGConf);
}

void error_blink(uint16_t GPIO_Pin, uint16_t n, uint16_t dt) {		/* GPIO_Pin: Pin, n: Anzahl der Impulse, dt: Dauer der Impulse */
	for(int i = 0; i < n; i++) {
		HAL_GPIO_WritePin(LED3_GPIO_Port, GPIO_Pin, GPIO_PIN_SET);
		HAL_Delay(dt);
		HAL_GPIO_WritePin(LED3_GPIO_Port, GPIO_Pin, GPIO_PIN_RESET);
		HAL_Delay(dt);
	}
}

void writeToFile(void) {
	HAL_NVIC_DisableIRQ(TIM4_IRQn);								/* Deaktiviere zyklischen Timer Interrupt um SD-Zugriff nicht zu unterbrechen */
	write_dataset_to_file(&logFile, logFileName, sensor_set, actualSet, &cursor);		/* Schreibe Datensatz auf die Speicherkarte */
	writeDataset = 0;
	actualSet = 0;
	HAL_NVIC_EnableIRQ(TIM4_IRQn);								/* Reaktiviere zyklischen Timer Interrupt */
}

/* Interrupt Handler (ISR) ---------------------------------------------------*/

/* GPIO Interrupt Handler */
void HAL_GPIO_EXTI_Callback(uint16_t GPIO_Pin){
	operation_mode = workmode_log;								/* Ändern des Betriebsmodus in Log-Modus */
	sleepTimer = 0;																/* Zurücksetzen des Sleep-Timers bei neuem Interrupt */
	if(GPIO_Pin == User_Button_Pin){
		event = eject_card;
	}	else if(GPIO_Pin == INT_Photodiode_Pin){
		event = open_event;
	}	else if(GPIO_Pin == INT_Acceleration_Pin){
		event = moving_event;
	}	else if(GPIO_Pin == INT_Acceleration2_Pin){
		event = hit_event;
	}
}

/* Analog Watchdog Interrupt Handler */
void HAL_ADC_LevelOutOfWindowCallback(ADC_HandleTypeDef* hadc) {
	operation_mode = workmode_log;								/* Ändern des Betriebsmodus in Log-Modus */
	sleepTimer = 0;																/* Zurücksetzen des Sleep-Timers bei neuem Interrupt */
	event = temp_event;
	HAL_GPIO_WritePin(LED5_GPIO_Port, LED5_Pin, GPIO_PIN_SET);		/* Aktivieren der roten LED als Indikator */
}

/* Zyklischer Timer interrupt im Sekundentakt */
void TIM4_IRQHandler() {
	TIM4->SR &=~ (0x1);
	if(++sleepTimer == activeTime) {							/* Ändern des Betriebsmodus nach voreingestelter Zeit ohne Interrupt */
		operation_mode = workmode_sleep;						/* Ändern des Betriebsmodus in Ruhemodus */
		sleepTimer = 0;
	}
	if(operation_mode == workmode_log) {					/* Routine zum hochzählen der Zeit im Sekundentakt. Diese muss jedoch zu Beginn bzw. nach jedem Ruhezustand einmalig vom GPS-Signal aktualisiert werden. TODO! */
		getDataset = GET_DATA;
		if(++clock_time.tm_sec == 60) {
			clock_time.tm_sec = 0;
			if(++clock_time.tm_min == 60) {
				clock_time.tm_min = 0;
				if(++clock_time.tm_hour == 24) {
					clock_time.tm_hour = 0;
					if(++clock_time.tm_yday == 365) {
						clock_time.tm_yday = 0;
						++clock_time.tm_year;
					}
				}
			}
		}
	}
}

/* INIH Handler --------------------------------------------------------------*/
int ini_parse_fatfs(FIL* file, const char* filename, ini_handler handler, void* user)
{
    FRESULT result;
    int error;

    result = f_open(file, filename, FA_OPEN_EXISTING | FA_READ);
    if (result != FR_OK)
        return -1;
    error = ini_parse_stream((ini_reader)f_gets, file, handler, user);
    f_close(file);
    return error;
}

static int Preferences_Handler(void* user, const char* section, const char* name, const char* value) {
    configuration* pconfig = (configuration*)user;

    #define MATCH(s, n) strcmp(section, s) == 0 && strcmp(name, n) == 0
    if (MATCH("functions", "ACCELERATION_ENABLE")) {
        pconfig->ACCELERATION_ENABLE = atoi(value);
    } else if (MATCH("functions", "GNSS_ENABLE")) {
        pconfig->GNSS_ENABLE = atoi(value);
		}	else if (MATCH("functions", "LIGHT_ENABLE")) {
        pconfig->LIGHT_ENABLE = atoi(value);
		} else if (MATCH("functions", "TEMP_ENABLE")) {
        pconfig->TEMP_ENABLE = atoi(value);
		} else if (MATCH("values", "ACC_MAX_ANZAHL_WERTE")) {
        pconfig->ACC_MAX_ANZAHL_WERTE = atoi(value);
    } else if (MATCH("values", "MIN_TEMP")) {
        pconfig->MIN_TEMP = atoi(value);
    } else if (MATCH("values", "MAX_TEMP")) {
        pconfig->MAX_TEMP = atoi(value);
    } else if (MATCH("values", "MAX_ACC")) {
        pconfig->MAX_ACC = atof(value);
    } else {
        return 0;  															/* unknown section/name, error */
    }

		return 1;
}
/* USER CODE END 4 */

void Error_Handler(void)
{
  while(1)
  {
  }
}

/************************ (C) COPYRIGHT STMicroelectronics *****END OF FILE****/
